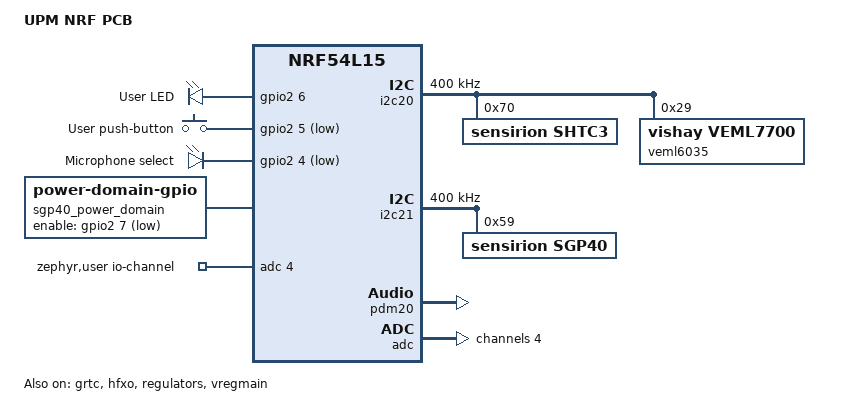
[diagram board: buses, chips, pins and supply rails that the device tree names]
/dts-v1/;

#include <nordic/nrf54l15_cpuapp.dtsi>
#include "nrfpcb-pinctrl.dtsi"

/ {
	model = "UPM NRF PCB";
	compatible = "ggf,nrfpcb-cpuapp";

	chosen {
		zephyr,code-partition = &slot0_partition;
		zephyr,settings-partition = &storage_partition;
		zephyr,sram = &cpuapp_sram;
		zephyr,flash = &cpuapp_rram;
		zephyr,flash-controller = &rram_controller;
	};

	/*
	 * LED, push-button and GPIO definitions.
	 */

	leds {
		compatible = "gpio-leds";
		usr_led: usr_led {
			gpios = <&gpio2 6 GPIO_ACTIVE_HIGH>;
			label = "User LED";
		};
	};

	buttons {
		compatible = "gpio-keys";
		usr_button: usr_button {
			gpios = <&gpio2 5 (GPIO_PULL_UP | GPIO_ACTIVE_LOW)>;
			label = "User push-button";
		};
	};

	gpio_control {
		compatible = "gpio-leds";
		mic_sel: mic_sel {
			gpios = <&gpio2 4 (GPIO_ACTIVE_LOW)>;
			label = "Microphone select";
		};
	};

	sgp40_power_domain: sgp40_power_domain {
		status = "okay";
		compatible = "power-domain-gpio";
		enable-gpios = <&gpio2 7 (GPIO_ACTIVE_LOW)>;
		#power-domain-cells = <0>;
		startup-delay-us = <2000>;
		off-on-delay-us = <10000>;
	};

	zephyr,user {
		io-channels = <&adc 4>;
	};

	aliases {
		usr-led = &usr_led;
		usr-button = &usr_button;

		light-sensor = &veml6035;
		ambient-sensor = &shtc3;
		voc-sensor = &sgp40;
		microphone = &im70d122;

		mic-sel = &mic_sel;
		voc-power-domain = &sgp40_power_domain;
	};
};

&clock {
	status = "okay";
};

&grtc {
	owned-channels = <0 1 2 3 4 5 6 7 8 9 10 11>;
	/* Channels 7-11 reserved for Zero Latency IRQs, 3-4 for FLPR */
	child-owned-channels = <3 4 7 8 9 10 11>;
	status = "okay";
};

&cpuapp_sram {
	status = "okay";
};


/*
 * Partition table
 *
 * Split into 5 main categories:
 * - MCUBoot (bootloader).
 * - A/B partitions. Equally sized to support DFU updates.
 * - Factory-provisioned permanent data.
 * - NVS partition for storing settings and persistent data.
 * - Sensor data for storing sensor readings.
 */
&cpuapp_rram {
	partitions {
		compatible = "fixed-partitions";
		#address-cells = <1>;
		#size-cells = <1>;

		boot_partition: partition@0 {
			label = "mcuboot";
			reg = <0x0 DT_SIZE_K(60)>;
		};

		slot0_partition: partition@f000 {
			label = "image-0";
			reg = <0xF000 DT_SIZE_K(332)>;
		};

		slot1_partition: partition@62000 {
			label = "image-1";
			reg = <0x62000 DT_SIZE_K(332)>;
		};

		factory_data: partition@b5000 {
			label = "factory";
			reg = <0xb5000 DT_SIZE_K(4)>;
		};

		storage_partition: partition@b6000{
			label = "storage";
			reg = <0xb6000 DT_SIZE_K(16)>;
		};

		// Fill all the way to the end (0x165000)
		sensor_data_partition: partition@ba000 {
			label = "sensor_data";
			reg = <0xba000 DT_SIZE_K(684)>;
		};
	};
};


/*
 * Internal configuration
 */

// 32MHz crystal.
&hfxo {
	status = "okay";
	clock-frequency = <32000000>;

	load-capacitors = "internal";
	load-capacitance-femtofarad = <8000>;
};
// No 32kHz crystal.
&lfxo {
    status = "disabled";
};

&regulators {
	status = "okay";
};

&vregmain {
	status = "okay";
	regulator-initial-mode = <NRF5X_REG_MODE_DCDC>;
};

/*
 * GPIO configuration
 */

// Power domain 2 corresponds to GPIO port 1.
&gpiote20 {
	status = "okay";
};

// Only ports 1 and 2 are used.
&gpio1 {
	status = "okay";
};
&gpio2 {
	status = "okay";
};

// By default, P1.02 and P1.03 are reserved for NFC.
// Release them to be used by other peripherals (I²C).
&uicr {
	nfct-pins-as-gpios;
};

/*
 * I²C configuration
 */

// Always-on I²C
&i2c20 {
	compatible = "nordic,nrf-twim";
	status = "okay";

	clock-frequency = <I2C_BITRATE_FAST>;
	pinctrl-0 = <&i2c20_default>;
	pinctrl-1 = <&i2c20_sleep>;
	pinctrl-names = "default", "sleep";

	zephyr,pm-device-runtime-auto;

	shtc3: shtc3@70 {
		compatible = "sensirion,shtc3", "sensirion,shtcx";
		status = "okay";
		reg = <0x70>;
		measure-mode = "low-power";
	};

	veml6035: veml6035@29 {
		compatible = "vishay,veml7700";
		status = "okay";
		reg = <0x29>;

		zephyr,pm-device-runtime-auto;
	};
};

// Gated I²C
&i2c21 {
	compatible = "nordic,nrf-twim";
	status = "okay";
	// Enable power-management.
	// Allows enabling and disabling the peripheral. Starts OFF.
	zephyr,pm-device-runtime-auto;

	clock-frequency = <I2C_BITRATE_FAST>;
	pinctrl-0 = <&i2c21_default>;
	pinctrl-1 = <&i2c21_sleep>;
	pinctrl-names = "default", "sleep";

	sgp40: sgp40@59 {
		compatible = "sensirion,sgp40";
		status = "okay";
		reg = <0x59>;

		power-domains = <&sgp40_power_domain>;
	};
};


/*
 * Microphone configuration
 */
im70d122: &pdm20 {
	status = "okay";

	clock-source = "PCLK32M";
	queue-size = <128>;
	pinctrl-0 = <&pdm20_default>;
	pinctrl-names = "default";
};


/*
 * ADC configuration
 */
&adc {
	#address-cells = <1>;
    	#size-cells = <0>;
	compatible = "nordic,nrf-saadc";
	status = "okay";

	// VBAT
	channel@4 {
		reg = <4>;
		zephyr,reference = "ADC_REF_INTERNAL"; // Internal reference of 0.9V
		zephyr,gain = "ADC_GAIN_1_4"; // Allows reading up to 3.6V (VDD max is 3.3V)
		zephyr,acquisition-time = <ADC_ACQ_TIME_DEFAULT>;
		zephyr,input-positive = <NRF_SAADC_AIN4>;
		zephyr,resolution = <12>;
	};
};
